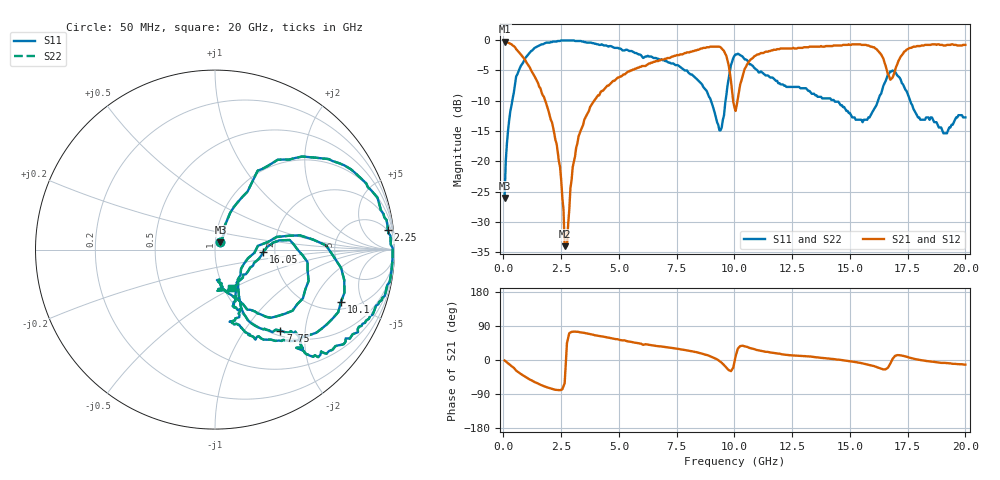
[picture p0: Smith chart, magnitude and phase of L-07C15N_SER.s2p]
#	mhz	s	ma	r	50
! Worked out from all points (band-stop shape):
!   400 points, 50 MHz to 20 GHz, reference 50 ohm
!   highest |S21| = -0.26 dB at 50 MHz (marker M1); lowest = -34.0 dB at 2.65 GHz (marker M2)
!   |S21| within 3 dB of the highest: 10.69 GHz to 16.46 GHz (5.771 GHz wide, 42.5 % of centre); 17.13 GHz to end of sweep (the widest 2 of 4)
!   lowest |S11| = -26.0 dB at 50 MHz (marker M3), VSWR 1.11, Z = 53 + j4.2 ohm
!   |S11| at or under -10 dB: 8.984 GHz to 9.617 GHz (633 MHz wide, 6.81 % of centre); 14.32 GHz to 16.22 GHz (1.897 GHz wide, 12.4 % of centre); 17.61 GHz to end of sweep (the widest 3 of 4)
!   |S22| runs from -26.0 to -0.1 dB; largest |S21 - S12| = 0
!   S11 on the Smith chart (normalised r, x): 50 MHz: 1.06, +0.08; 2.25 GHz: 5, +17; 7.75 GHz: 1.09, -1.48; 10.1 GHz: 2.42, -3.35; 16.05 GHz: 1.74, -0.05; 20 GHz: 1.09, -0.49
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50  0.05 52.3  0.97 -1.3  0.97 -1.3  0.05 52.3
200  0.18 67.6  0.95 -8.7  0.95 -8.7  0.18 67.6
550  0.5 61.6  0.84 -28.0  0.84 -28.0  0.5 61.6
1200  0.81 38.5  0.56 -53.3  0.56 -53.3  0.81 38.5
2250  0.97 6.4  0.15 -78.7  0.15 -78.7  0.97 6.4
2500  0.99 0.5  0.07 -78.5  0.07 -78.5  0.99 0.5
2650  0.99 -2.6  0.02 -61.2  0.02 -61.2  0.99 -2.6
3000  0.99 -9.6  0.09 74.6  0.09 74.6  0.99 -9.6
3400  0.97 -16.1  0.19 72.4  0.19 72.4  0.97 -16.1
6700  0.7 -46.9  0.67 36.5  0.67 36.5  0.7 -46.9
7750  0.58 -51.1  0.76 27.5  0.76 27.5  0.58 -51.1
9400  0.18 -25.4  0.87 -4.9  0.87 -4.9  0.18 -25.4
9750  0.48 9.5  0.62 -26.5  0.62 -26.5  0.48 9.5
10050  0.76 -18.4  0.26 9.7  0.26 9.7  0.76 -18.4
10100  0.76 -22.6  0.29 20.0  0.29 20.0  0.76 -22.6
11350  0.51 -68.6  0.8 21.6  0.8 21.6  0.51 -68.6
13350  0.36 -66.1  0.88 8.5  0.88 8.5  0.36 -66.1
16050  0.27 -2.6  0.87 -16.2  0.87 -16.2  0.27 -2.6
16700  0.53 -13.1  0.5 -14.7  0.5 -14.7  0.53 -13.1
17150  0.49 -50.8  0.7 12.7  0.7 12.7  0.49 -50.8
18050  0.22 -81.6  0.89 -0.2  0.89 -0.2  0.22 -81.6
20000  0.23 -66.8  0.91 -12.2  0.91 -12.2  0.23 -66.8
